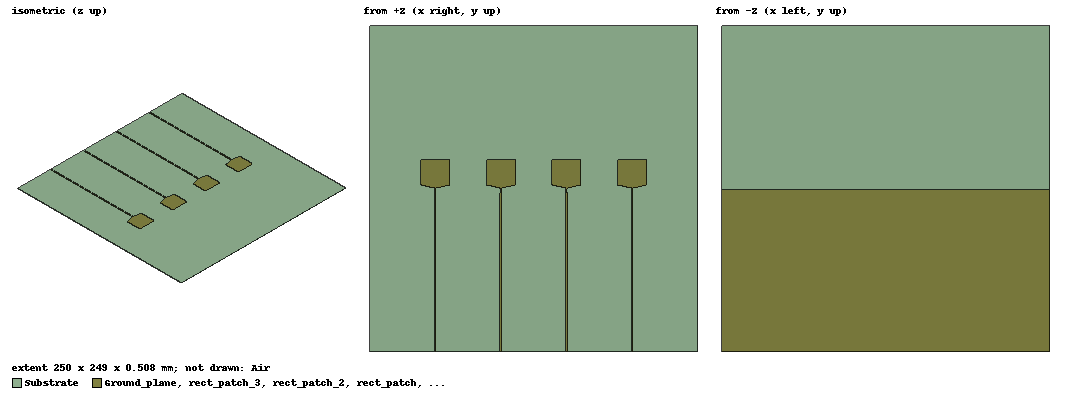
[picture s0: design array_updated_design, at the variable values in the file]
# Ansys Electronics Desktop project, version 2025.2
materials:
  Arlon 25N (tm): permittivity=3.38 dielectric_loss_tangent=0.0025
  copper: permeability=0.999991 conductivity=58000000
  FR4_epoxy: permittivity=4.4 dielectric_loss_tangent=0.02
  Rogers RO4003 (tm): permittivity=3.55 dielectric_loss_tangent=0.0027
  vacuum: permittivity=1

design original_design (HFSS, HFSS Terminal Network, model units mm)
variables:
  substrate_width = 50mm
  substrate_height = 0.767mm
  QW = 150mm
  patch_length = 20mm
  patch_width = 14mm
  patch_ground_spacing = 0.5mm
  circ_patch_length = 2.85mm
  patch_feed_width = 0.5mm
  feed_width = 1.75mm
  feed_taper_length = 2.85mm
  feed_substrate_length = 40mm
  antenna_substrate_length = 40mm
  feed_short = 0mm
  air_x = 200mm
  air_y = 200mm
  air_z = 200mm
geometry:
  Substrate [Arlon 25N (tm)] = box(corner=(-substrate_width/2, -feed_substrate_length, - substrate_height), size=(substrate_width, feed_substrate_length + antenna_substrate_length, substrate_height))
  Ground_plane = rectangle(corner=(substrate_width/2, -feed_substrate_length, -substrate_height), x_size=-substrate_width, y_size=feed_substrate_length)
  Air [vacuum] = box(corner=(-air_x/2, - air_y/2, -air_z/2), size=(air_x, air_y, air_z))
  rect_patch = rectangle(corner=(-patch_width/2, patch_ground_spacing + circ_patch_length, 0mm), x_size=patch_width, y_size=patch_length - circ_patch_length)
  circ_patch = polyline(z=0mm, xy: (patch_width/2, patch_ground_spacing + circ_patch_length) (0mm, patch_ground_spacing) (-patch_width/2, patch_ground_spacing + circ_patch_length) (patch_width/2, patch_ground_spacing + circ_patch_length), closed, covered, Spline from point 0 over 3)
  patch_feed = rectangle(corner=(-patch_feed_width/2, 0mm, 0mm), x_size=patch_feed_width, y_size=patch_ground_spacing + circ_patch_length)
  feed = rectangle(corner=(-feed_width/2, -feed_substrate_length + feed_short, 0mm), x_size=feed_width, y_size=feed_substrate_length - feed_taper_length - feed_short)
  feed_taper = polyline(z=0mm, xy: (-patch_feed_width/2, 0mm) (-feed_width/2, -feed_taper_length) (feed_width/2, -feed_taper_length) (patch_feed_width/2, 0mm) (-patch_feed_width/2, 0mm), closed, covered)
  rect_patch.unite(patch_feed, circ_patch)
  feed.unite(feed_taper)
  rect_patch.unite(feed)
  rect_patch_ObjectFromEdge1 = object_from(rect_patch.edge(at (0, -40, 0)))
  rect_patch_ObjectFromEdge1.sweep_along_vector((0mm, 0mm, -substrate_height))
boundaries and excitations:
  PerfE_ground: Perfect E Objects=Ground_plane
  PerfE_patch: Perfect E Objects=rect_patch
  Radiation: Radiation Faces=Air.face(all 6)
  rect_patch_T1: Terminal port=1 Edges=rect_patch.edge(at (0, -40, 0)) TerminalResistance=50ohm
  1: Lumped Port Faces=rect_patch_ObjectFromEdge1.face LumpedPortType=Terminal Impedance=50ohm
  reference conductors: Ground_plane
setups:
  Setup: HfssDriven MultipleAdaptiveFreqsSetup{Low=1GHz High=5GHz} MaxDeltaS=0.02 MaximumPasses=15 MinimumPasses=1 MinimumConvergedPasses=1 PercentRefinement=30 BasisOrder=1 PortAccuracy=2 DrivenSolverType="Auto Select Direct/Iterative"
    sweep Sweep: 1.5GHz to 4.5GHz, 101 points; Type=Fast SaveFields
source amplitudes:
  1:1: 1V 0deg
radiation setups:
  Radiation_pattern: Infinite Sphere Theta=-180deg..180deg step 3deg Phi=-90deg..90deg step 3deg
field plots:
  Mag_E1: E Field over rect_patch.face(at (0, -9.75, 0)) on Setup : Sweep at Freq=3GHz Phase=0deg
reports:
  Terminal S Parameter Plot1: dB(St(rect_patch_T1,rect_patch_T1)) vs Freq on Setup : Sweep; markers MY1 at y=-10, MY2 at y=-15, MY3 at y=-20
  Gain Plot1: dB(GainTotal) vs Theta on Setup : Sweep, Radiation_pattern [Phi=90deg Freq=2.4GHz,3GHz,3.6GHz]
  Gain Plot3: GainTotal vs Phi, Theta on Setup : Sweep, Radiation_pattern [Freq=3GHz]

design updated_design (HFSS, HFSS Terminal Network, model units mm)
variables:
  substrate_width = 50mm
  substrate_height = 0.508mm
  QW = 150mm
  patch_length = 17.75mm  # optimise 10mm..30mm; tune 10mm..30mm
  patch_width = 22mm
  patch_ground_spacing = 0.5mm  # optimise 0.25mm..0.75mm; tune 0.25mm..0.75mm
  circ_patch_length = 2.5mm  # optimise 1.425mm..4.275mm; tune 1.3mm..3.9mm
  patch_feed_width = patch_ground_spacing
  feed_width = 1.1mm
  feed_taper_length = 2.85mm
  feed_substrate_length = 30mm
  antenna_substrate_length = 30mm
  feed_short = 0mm
  air_x = 300mm
  air_y = 300mm
  air_z = 300mm
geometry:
  Substrate [Rogers RO4003 (tm)] = box(corner=(-substrate_width/2, -feed_substrate_length, - substrate_height), size=(substrate_width, feed_substrate_length + antenna_substrate_length, substrate_height))
  Ground_plane = rectangle(corner=(substrate_width/2, -feed_substrate_length, -substrate_height), x_size=-substrate_width, y_size=feed_substrate_length)
  Air [vacuum] = box(corner=(-air_x/2, - air_y/2, -air_z/2), size=(air_x, air_y, air_z))
  rect_patch = rectangle(corner=(-patch_width/2, patch_ground_spacing + circ_patch_length, 0mm), x_size=patch_width, y_size=patch_length - circ_patch_length)
  circ_patch = polyline(z=0mm, xy: (patch_width/2, patch_ground_spacing + circ_patch_length) (0mm, patch_ground_spacing) (-patch_width/2, patch_ground_spacing + circ_patch_length) (patch_width/2, patch_ground_spacing + circ_patch_length), closed, covered, Spline from point 0 over 3)
  patch_feed = rectangle(corner=(-patch_feed_width/2, 0mm, 0mm), x_size=patch_feed_width, y_size=patch_ground_spacing + circ_patch_length)
  feed = rectangle(corner=(-feed_width/2, -feed_substrate_length + feed_short, 0mm), x_size=feed_width, y_size=feed_substrate_length - feed_taper_length - feed_short)
  feed_taper = polyline(z=0mm, xy: (-patch_feed_width/2, 0mm) (-feed_width/2, -feed_taper_length) (feed_width/2, -feed_taper_length) (patch_feed_width/2, 0mm) (-patch_feed_width/2, 0mm), closed, covered)
  rect_patch.unite(patch_feed, circ_patch)
  feed.unite(feed_taper)
  feed_ObjectFromEdge1 = object_from(feed.edge(at (0, -30, 0)))
  feed_ObjectFromEdge1.sweep_along_vector((0mm, 0mm, -substrate_height))
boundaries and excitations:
  PerfE_ground: Perfect E Objects=Ground_plane
  PerfE_patch: Perfect E Objects=rect_patch
  Radiation: Radiation Faces=Air.face(all 6)
  PerfE_feed: Perfect E Objects=feed
  feed_T1: Terminal port=1 Edges=feed.edge(at (0, -30, 0)) TerminalResistance=50ohm
  1: Lumped Port Faces=feed_ObjectFromEdge1.face LumpedPortType=Terminal Impedance=50ohm
  reference conductors: Ground_plane
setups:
  Setup: HfssDriven Frequency=3GHz MaxDeltaS=0.02 MaximumPasses=10 MinimumPasses=1 MinimumConvergedPasses=1 PercentRefinement=30 BasisOrder=1 PortAccuracy=2 DrivenSolverType="Auto Select Direct/Iterative" VariableFlagsForDerivatives(1)
    sweep Sweep: 1.5GHz to 4.5GHz, 51 points; Type=Fast SaveFields
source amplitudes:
  1:1: 1V 0deg
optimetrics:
  Length: Parametric disabled Sim._Setups=[Setup]
    sweep patch_length: LIN 16mm 23mm 1mm LINC 17mm 18mm 5
  ParametricSetup1: Parametric disabled Sim._Setups=[Setup]
    sweep patch_width: LIN 16mm 24mm 1mm
  ParametricSetup2: Parametric disabled Sim._Setups=[Setup]
    sweep feed_substrate_length: LIN 10mm 40mm 10mm
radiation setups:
  Radiation_pattern: Infinite Sphere Theta=-180deg..180deg step 3deg Phi=-180deg..180deg step 3deg
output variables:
  Bandwidth_20 = XWidthAtYVal(dB(St(feed_T1,feed_T1)), -20 )
  Bandwidth_10 = XWidthAtYVal(dB(St(feed_T1,feed_T1)), -10 )
  Bandwidth_15 = XWidthAtYVal(dB(St(feed_T1,feed_T1)), -15 )
  Best_match_freq = XAtYMin(dB(St(feed_T1,feed_T1)))
  Bandwidth_20_start = XAtYVal(dB(St(feed_T1,feed_T1)), -20 )
  Bandwidth_20_end = XAtYVal(dB(St(feed_T1,feed_T1)), -20 ) + Bandwidth_20
  Bandwidth_30_start = XAtYVal(dB(St(feed_T1,feed_T1)), -30 )
  Bandwidth_30 = XWidthAtYVal(dB(St(feed_T1,feed_T1)), -30 )
  Bandwidth_30_end = XAtYVal(dB(St(feed_T1,feed_T1)), -30 ) + Bandwidth_30
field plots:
  Mag_E1: E Field over rect_patch.face(at (0, 9.125, 0)) feed.face(at (0, -15, 0)) on Setup : LastAdaptive at Freq=3GHz Phase=0deg
  Mag_E2: E Field over Ground_plane.face on Setup : LastAdaptive at Freq=3GHz Phase=0deg
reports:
  s11_flat: dB(St(feed_T1,feed_T1)) vs Freq on Setup : Sweep [feed_substrate_length=30mm patch_width=22mm]; markers MY1 at y=-20
  Gain Plot1: GainTotal vs Phi, Theta on Setup : Sweep, Radiation_pattern [Freq=2.4GHz feed_substrate_length=30mm]
  Gain Plot2: dB(GainTotal) vs Theta on Setup : Sweep, Radiation_pattern [Phi=0deg Freq=2.4GHz,3GHz,3.6GHz feed_substrate_length=30mm]

design original_design_rogers (HFSS, HFSS Terminal Network, model units mm)
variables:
  substrate_width = 50mm
  substrate_height = 0.508mm
  QW = 150mm
  patch_length = 20mm
  patch_width = 14mm
  patch_ground_spacing = 0.5mm
  circ_patch_length = 2.85mm
  patch_feed_width = 0.5mm
  feed_width = 1.1mm
  feed_taper_length = 2.85mm
  feed_substrate_length = 30mm
  antenna_substrate_length = 30mm
  feed_short = 0.1mm
  air_x = 200mm
  air_y = 200mm
  air_z = 200mm
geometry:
  Substrate [Rogers RO4003 (tm)] = box(corner=(-substrate_width/2, -feed_substrate_length, - substrate_height), size=(substrate_width, feed_substrate_length + antenna_substrate_length, substrate_height))
  Ground_plane = rectangle(corner=(substrate_width/2, -feed_substrate_length, -substrate_height), x_size=-substrate_width, y_size=feed_substrate_length)
  Air [vacuum] = box(corner=(-air_x/2, - air_y/2, -air_z/2), size=(air_x, air_y, air_z))
  rect_patch = rectangle(corner=(-patch_width/2, patch_ground_spacing + circ_patch_length, 0mm), x_size=patch_width, y_size=patch_length - circ_patch_length)
  circ_patch = polyline(z=0mm, xy: (patch_width/2, patch_ground_spacing + circ_patch_length) (0mm, patch_ground_spacing) (-patch_width/2, patch_ground_spacing + circ_patch_length) (patch_width/2, patch_ground_spacing + circ_patch_length), closed, covered, Spline from point 0 over 3)
  patch_feed = rectangle(corner=(-patch_feed_width/2, 0mm, 0mm), x_size=patch_feed_width, y_size=patch_ground_spacing + circ_patch_length)
  feed = rectangle(corner=(-feed_width/2, -feed_substrate_length + feed_short, 0mm), x_size=feed_width, y_size=feed_substrate_length - feed_taper_length - feed_short)
  feed_taper = polyline(z=0mm, xy: (-patch_feed_width/2, 0mm) (-feed_width/2, -feed_taper_length) (feed_width/2, -feed_taper_length) (patch_feed_width/2, 0mm) (-patch_feed_width/2, 0mm), closed, covered)
  rect_patch.unite(patch_feed, circ_patch)
  feed.unite(feed_taper)
  rect_patch.unite(feed)
  rect_patch_ObjectFromEdge1 = object_from(rect_patch.edge(at (0, -29.9, 0)))
  rect_patch_ObjectFromEdge1.sweep_along_vector((0mm, 0mm, -substrate_height))
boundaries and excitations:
  PerfE_ground: Perfect E Objects=Ground_plane
  PerfE_patch: Perfect E Objects=rect_patch
  Radiation: Radiation Faces=Air.face(all 6)
  rect_patch_T1: Terminal port=1 Edges=rect_patch.edge(at (0, -29.9, 0)) TerminalResistance=50ohm
  1: Lumped Port Faces=rect_patch_ObjectFromEdge1.face LumpedPortType=Terminal Impedance=50ohm
  reference conductors: Ground_plane
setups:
  Setup: HfssDriven Frequency=3GHz MaxDeltaS=0.02 MaximumPasses=15 MinimumPasses=1 MinimumConvergedPasses=1 PercentRefinement=30 BasisOrder=1 PortAccuracy=2 DrivenSolverType="Auto Select Direct/Iterative"
    sweep Sweep: 1.5GHz to 4.5GHz, 51 points; Type=Fast SaveFields
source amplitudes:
  1:1: 1V 0deg
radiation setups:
  Radiation_pattern: Infinite Sphere Theta=-180deg..180deg step 3deg Phi=-180deg..180deg step 3deg
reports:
  Terminal S Parameter Plot1: dB(St(rect_patch_T1,rect_patch_T1)) vs Freq on Setup : Sweep; markers MY1 at y=-10, MY2 at y=-15, MY3 at y=-20
  Gain Plot1: GainTotal vs Phi, Theta on Setup : Sweep, Radiation_pattern [Freq=2.4GHz]
  Gain Plot2: GainTotal vs Theta on Setup : Sweep, Radiation_pattern [Phi=0deg,90deg Freq=2.4GHz,3GHz]
  Gain Plot3: GainTheta vs Theta on Setup : Sweep, Radiation_pattern [Phi=90deg Freq=2.4GHz,3GHz]; GainPhi vs Theta on Setup : Sweep, Radiation_pattern [Phi=0deg Freq=2.4GHz,3GHz]

design array (HFSS, HFSS Hybrid Terminal Network, model units mm)
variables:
  substrate_width = 100mm
  substrate_height = 0.508mm
  QW = 150mm
  patch_length = 22mm  # optimise 10mm..30mm; tune 10mm..30mm
  patch_width = patch_length
  patch_ground_spacing = 0.75mm  # optimise 0.25mm..0.75mm; tune 0.25mm..0.75mm
  circ_patch_length = 2.5mm  # optimise 1.425mm..4.275mm; tune 1.3mm..3.9mm
  patch_feed_width = patch_ground_spacing
  feed_width = 1.15mm
  feed_taper_length = 2.85mm
  feed_substrate_length = 100mm
  antenna_substrate_length = 30mm
  feed_short = 0mm
  air_x = 100mm
  air_y = 250mm
  air_z = 250mm
  Phi_scan = 0deg
  Theta_scan = 0deg
  ScanFrequency = 3000000000Hz
  ScanAngleTheta = 0deg
  ScanAnglePhi = 0deg
  ScanPhaseShiftA = -((ScanFrequency*0.0*sin(ScanAngleTheta)*cos(ScanAnglePhi)) + (ScanFrequency*5.23961255488e-09*sin(ScanAngleTheta)*sin(ScanAnglePhi))) rad
  ScanPhaseShiftB = -((ScanFrequency*2.09584502195e-09*sin(ScanAngleTheta)*cos(ScanAnglePhi)) + (ScanFrequency*0.0*sin(ScanAngleTheta)*sin(ScanAnglePhi))) rad
  SidelobeLevel = 25
  ScanMag1 = 1V
  ScanPhase1 = 0deg
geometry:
  Substrate [Rogers RO4003 (tm)] = box(corner=(-substrate_width/2, -feed_substrate_length, - substrate_height), size=(substrate_width, feed_substrate_length + antenna_substrate_length, substrate_height))
  Ground_plane = rectangle(corner=(substrate_width/2, -feed_substrate_length, -substrate_height), x_size=-substrate_width, y_size=feed_substrate_length)
  Air [vacuum] = box(corner=(-air_x/2, - air_y/2, -air_z/2), size=(air_x, air_y, air_z))
  rect_patch = rectangle(corner=(-patch_width/2, patch_ground_spacing + circ_patch_length, 0mm), x_size=patch_width, y_size=patch_length - circ_patch_length)
  circ_patch = polyline(z=0mm, xy: (patch_width/2, patch_ground_spacing + circ_patch_length) (0mm, patch_ground_spacing) (-patch_width/2, patch_ground_spacing + circ_patch_length) (patch_width/2, patch_ground_spacing + circ_patch_length), closed, covered, Spline from point 0 over 3)
  patch_feed = rectangle(corner=(-patch_feed_width/2, 0mm, 0mm), x_size=patch_feed_width, y_size=patch_ground_spacing + circ_patch_length)
  feed = rectangle(corner=(-feed_width/2, -feed_substrate_length + feed_short, 0mm), x_size=feed_width, y_size=feed_substrate_length - feed_taper_length - feed_short)
  feed_taper = polyline(z=0mm, xy: (-patch_feed_width/2, 0mm) (-feed_width/2, -feed_taper_length) (feed_width/2, -feed_taper_length) (patch_feed_width/2, 0mm) (-patch_feed_width/2, 0mm), closed, covered)
  rect_patch.unite(patch_feed, circ_patch)
  feed.unite(feed_taper)
  feed_ObjectFromEdge1 = object_from(feed.edge(at (0, -100, 0)))
  feed_ObjectFromEdge1.sweep_along_vector((0mm, 0mm, -substrate_height))
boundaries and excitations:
  PerfE_ground: Perfect E Objects=Ground_plane
  PerfE_patch: Perfect E Objects=rect_patch
  Radiation: Radiation Faces=Air.face(+z, -z)
  PerfE_feed: Perfect E Objects=feed
  LatticePair1: Lattice Pair Faces=Air.face(-y, +y) CoordSysVector{(50, -125, -125) -> (50, -125, 125)} ReverseV PhaseDelay=UseScanAngle Phi=Phi_scan Theta=Theta_scan
  LatticePair2: Lattice Pair Faces=Air.face(-x, +x) CoordSysVector{(-50, -125, -125) -> (-50, -125, 125)} ReverseV PhaseDelay=UseScanAngle Phi=Phi_scan Theta=Theta_scan
  feed_T1: Terminal port=1 Edges=feed.edge(at (0, -100, 0)) TerminalResistance=50ohm
  1: Lumped Port Faces=feed_ObjectFromEdge1.face LumpedPortType=Terminal Impedance=50ohm
  reference conductors: Ground_plane
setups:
  Setup: HfssDriven Frequency=3GHz MaxDeltaS=0.02 MaximumPasses=10 MinimumPasses=1 MinimumConvergedPasses=1 PercentRefinement=30 BasisOrder=1 PortAccuracy=2 DrivenSolverType="Domain Decomposition" IterativeResidual=1e-06 DDMSolverResidual=0.0001 VariableFlagsForDerivatives(1, 1) InfiniteSphereSetup=3
    sweep Sweep: 1.5GHz to 4.5GHz, 21 points; Type=Interpolating SaveFields InterpTolerance=0.5 InterpMaxSolns=250 PassivityErrorTolerance=0.0001
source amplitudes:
  1:1: ScanMag1*1 ScanPhase1 + (0*ScanPhaseShiftA + 0*ScanPhaseShiftB)*Freq/ScanFrequency
  1:2: ScanMag1*1 ScanPhase1 + (0*ScanPhaseShiftA + 1*ScanPhaseShiftB)*Freq/ScanFrequency
  1:3: ScanMag1*1 ScanPhase1 + (0*ScanPhaseShiftA + 2*ScanPhaseShiftB)*Freq/ScanFrequency
  1:4: ScanMag1*1 ScanPhase1 + (0*ScanPhaseShiftA + 3*ScanPhaseShiftB)*Freq/ScanFrequency
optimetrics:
  ParametricSetup1: Parametric disabled Sim._Setups=[Setup]
    sweep patch_ground_spacing: LINC 0.45mm 0.55mm 3
    sweep circ_patch_length: LINC 2mm 3mm 10
    sweep patch_length: LINC 22mm 24mm 3
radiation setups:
  Radiation_pattern: Infinite Sphere Theta=-180deg..180deg step 10deg Phi=-180deg..180deg step 3deg
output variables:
  Bandwidth_20 = XWidthAtYVal(dB(St(feed_T1,feed_T1)), -20 )
  Bandwidth_10 = XWidthAtYVal(dB(St(feed_T1,feed_T1)), -10 )
  Bandwidth_15 = XWidthAtYVal(dB(St(feed_T1,feed_T1)), -15 )
  Best_match_freq = XAtYMin(dB(St(feed_T1,feed_T1)))
  Bandwidth_20_start = XAtYVal(dB(St(feed_T1,feed_T1)), -20 )
  Bandwidth_20_end = XAtYVal(dB(St(feed_T1,feed_T1)), -20 ) + Bandwidth_20
  Bandwidth_30_start = XAtYVal(dB(St(feed_T1,feed_T1)), -30 )
  Bandwidth_30 = XWidthAtYVal(dB(St(feed_T1,feed_T1)), -30 )
  Bandwidth_30_end = XAtYVal(dB(St(feed_T1,feed_T1)), -30 ) + Bandwidth_30
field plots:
  Mag_E1: E Field over rect_patch.face(at (0, 11.375, 0)) feed.face(at (0, -50, 0)) on Setup : LastAdaptive at Freq=3GHz Phase=0deg
  Mag_E2: E Field over Ground_plane.face on Setup : LastAdaptive at Freq=3GHz Phase=0deg
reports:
  Gain Plot1: GainTotal vs Phi, Theta on Setup : LastAdaptive, Radiation_pattern [Freq=3GHz]
  Gain Plot2: GainTotal vs Phi on Setup : LastAdaptive, Radiation_pattern [Theta=all Freq=3GHz]; markers m1 at -90deg
  Terminal S Parameter Plot1: dB(St(array[1,1]feed_T1,array[1,1]feed_T1)), dB(St(array[1,2]feed_T1,array[1,2]feed_T1)), dB(St(array[1,3]feed_T1,array[1,3]feed_T1)), dB(St(array[1,4]feed_T1,array[1,4]feed_T1)) vs Freq on Setup : Sweep; markers MY1 at y=-10

design array_updated_design (HFSS, HFSS Terminal Network, model units mm)
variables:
  substrate_width = 250mm
  substrate_height = 0.508mm
  QW = 150mm
  patch_length = 22mm  # optimise 10mm..30mm; tune 10mm..30mm
  patch_width = patch_length
  patch_ground_spacing = 0.75mm  # optimise 0.25mm..0.75mm; tune 0.25mm..0.75mm
  circ_patch_length = 2.5mm  # optimise 1.425mm..4.275mm; tune 1.3mm..3.9mm
  patch_feed_width = patch_ground_spacing
  feed_width = 1.15mm
  feed_taper_length = 2.85mm
  feed_substrate_length = 124mm
  antenna_substrate_length = 125mm
  feed_short = 0mm
  air_x = 500mm
  air_y = 500mm
  air_z = 500mm
  uniform_spacing = 50mm
  substrate_offset = 75mm
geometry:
  Substrate [Rogers RO4003 (tm)] = box(corner=(-substrate_width/2 + substrate_offset, -feed_substrate_length, - substrate_height), size=(substrate_width, feed_substrate_length + antenna_substrate_length, substrate_height))
  Ground_plane = rectangle(corner=(substrate_width/2 + substrate_offset, -feed_substrate_length, -substrate_height), x_size=-substrate_width, y_size=feed_substrate_length)
  Air [vacuum] = box(corner=(-air_x/2, - air_y/2, -air_z/2), size=(air_x, air_y, air_z))
  rect_patch = rectangle(corner=(-patch_width/2, patch_ground_spacing + circ_patch_length, 0mm), x_size=patch_width, y_size=patch_length - circ_patch_length)
  circ_patch = polyline(z=0mm, xy: (patch_width/2, patch_ground_spacing + circ_patch_length) (0mm, patch_ground_spacing) (-patch_width/2, patch_ground_spacing + circ_patch_length) (patch_width/2, patch_ground_spacing + circ_patch_length), closed, covered, Spline from point 0 over 3)
  patch_feed = rectangle(corner=(-patch_feed_width/2, 0mm, 0mm), x_size=patch_feed_width, y_size=patch_ground_spacing + circ_patch_length)
  feed = rectangle(corner=(-feed_width/2, -feed_substrate_length + feed_short, 0mm), x_size=feed_width, y_size=feed_substrate_length - feed_taper_length - feed_short)
  feed_taper = polyline(z=0mm, xy: (-patch_feed_width/2, 0mm) (-feed_width/2, -feed_taper_length) (feed_width/2, -feed_taper_length) (patch_feed_width/2, 0mm) (-patch_feed_width/2, 0mm), closed, covered)
  rect_patch.unite(patch_feed, circ_patch)
  feed.unite(feed_taper)
  source = rectangle(corner=(-feed_width/2, - feed_substrate_length + feed_short, 0), z_size=-substrate_height, x_size=feed_width)
  source_1, source_2, source_3 = source.duplicate_along_line(step=(uniform_spacing, 0mm, 0mm), total=4)
  feed_1, feed_2, feed_3 = feed.duplicate_along_line(step=(uniform_spacing, 0mm, 0mm), total=4)
  rect_patch_1, rect_patch_2, rect_patch_3 = rect_patch.duplicate_along_line(step=(uniform_spacing, 0mm, 0mm), total=4)
  Air.move(substrate_offset, 0mm, 0mm)
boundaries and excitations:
  PerfE_ground: Perfect E Objects=Ground_plane
  PerfE_patch: Perfect E Objects=rect_patch
  Radiation: Radiation Faces=Air.face(all 6)
  PerfE_feed: Perfect E Objects=feed
  PerfE1: Perfect E Objects=[feed_1, feed_2, feed_3, rect_patch_1, rect_patch_2, rect_patch_3]
  feed_T1: Terminal port=1 Edges=feed.edge(at (0, -124, 0)) TerminalResistance=50ohm
  feed_1_T1: Terminal port=2 Edges=feed_1.edge(at (50, -124, 0)) TerminalResistance=50ohm
  feed_2_T1: Terminal port=3 Edges=feed_2.edge(at (100, -124, 0)) TerminalResistance=50ohm
  feed_3_T1: Terminal port=4 Edges=feed_3.edge(at (150, -124, 0)) TerminalResistance=50ohm
  1: Lumped Port Faces=source.face(at (0, -124, -0.254)) LumpedPortType=Terminal Impedance=50ohm
  2: Lumped Port Faces=source_1.face LumpedPortType=Terminal Impedance=50ohm
  3: Lumped Port Faces=source_2.face LumpedPortType=Terminal Impedance=50ohm
  4: Lumped Port Faces=source_3.face LumpedPortType=Terminal Impedance=50ohm
  reference conductors: Ground_plane
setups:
  Setup: HfssDriven Frequency=3GHz MaxDeltaS=0.02 MaximumPasses=15 MinimumPasses=1 MinimumConvergedPasses=1 PercentRefinement=30 BasisOrder=1 PortAccuracy=2 DrivenSolverType="Auto Select Direct/Iterative" VariablesForDerivatives(circ_patch_length, patch_ground_spacing) VariableFlagsForDerivatives(1, 1)
    sweep Sweep: 1.5GHz to 4.5GHz, 101 points; Type=Interpolating SaveFields InterpTolerance=0.5 InterpMaxSolns=250 PassivityErrorTolerance=0.0001
  wide_band: HfssDriven Frequency=5GHz MaxDeltaS=0.02 MaximumPasses=10 MinimumPasses=1 MinimumConvergedPasses=1 PercentRefinement=30 disabled BasisOrder=1 PortAccuracy=2 DrivenSolverType="Direct Solver"
    sweep Sweep: 1.5GHz to 4.5GHz, 401 points; Type=Discrete SaveFields
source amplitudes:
  1:1: 1V 0deg
  2:1, 3:1, 4:1: 0V 0deg
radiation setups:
  Radiation_pattern: Infinite Sphere Theta=-180deg..180deg step 3deg Phi=-180deg..180deg step 3deg
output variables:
  Bandwidth_20 = XWidthAtYVal(dB(St(feed_T1,feed_T1)), -20 )
  Bandwidth_10 = XWidthAtYVal(dB(St(feed_T1,feed_T1)), -10 )
  Bandwidth_15 = XWidthAtYVal(dB(St(feed_T1,feed_T1)), -15 )
  Best_match_freq = XAtYMin(dB(St(feed_T1,feed_T1)))
  Bandwidth_20_start = XAtYVal(dB(St(feed_T1,feed_T1)), -20 )
  Bandwidth_20_end = XAtYVal(dB(St(feed_T1,feed_T1)), -20 ) + Bandwidth_20
  Bandwidth_30_start = XAtYVal(dB(St(feed_T1,feed_T1)), -30 )
  Bandwidth_30 = XWidthAtYVal(dB(St(feed_T1,feed_T1)), -30 )
  Bandwidth_30_end = XAtYVal(dB(St(feed_T1,feed_T1)), -30 ) + Bandwidth_30
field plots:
  Mag_E1: E Field over rect_patch.face(at (0, 11.375, 0)) feed.face(at (0, -62, 0)) on Setup : LastAdaptive at Freq=3GHz Phase=0deg
  Mag_E2: E Field over Ground_plane.face on Setup : LastAdaptive at Freq=3GHz Phase=0deg
  Vector_E1: E Field in Air on Setup : Sweep at Freq=3GHz Phase=0deg
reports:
  s11_flat: dB(St(feed_T1,feed_T1)), dB(St(feed_1_T1,feed_1_T1)), dB(St(feed_2_T1,feed_2_T1)), dB(St(feed_3_T1,feed_3_T1)) vs Freq on Setup : Sweep [patch_length=22mm patch_ground_spacing=0.75mm circ_patch_length=2.5mm]; markers MY1 at y=-20
  Gain Plot1: GainTotal vs Phi, Theta on Setup : Sweep, Radiation_pattern [Freq=1.5GHz]
  Theta: GainTotal vs Theta on Setup : Sweep, Radiation_pattern [Phi=0deg,90deg Freq=1.5GHz]
